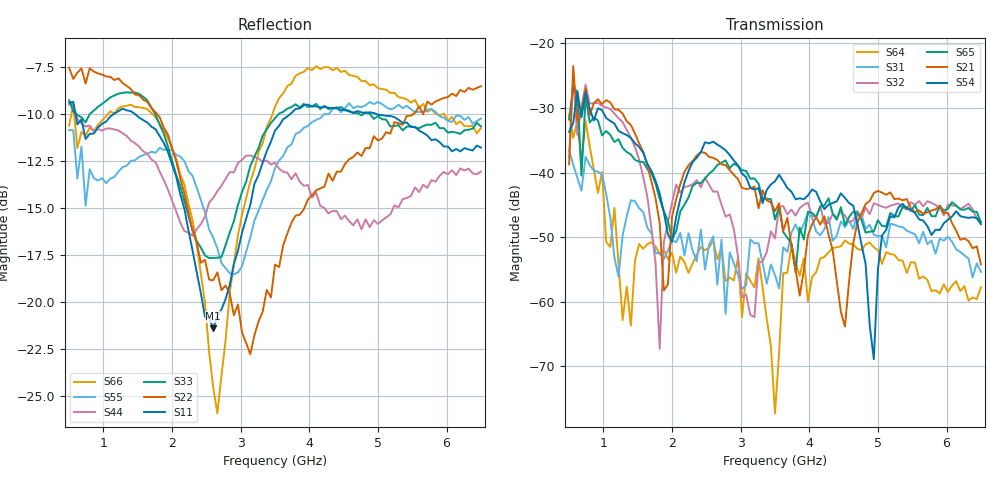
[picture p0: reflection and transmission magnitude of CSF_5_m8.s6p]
!Keysight Technologies,M9804A,MY58100912,A.14.10.03
!Date: Thursday, April 27, 2023 10:28:33
!Correction: S11(C  6-Port  )
!S12(C  6-Port  )
!S13(C  6-Port  )
!S14(C  6-Port  )
!S15(C  6-Port  )
!S16(C  6-Port  )
!S21(C  6-Port  )
!S22(C  6-Port  )
!S23(C  6-Port  )
!S24(C  6-Port  )
!S25(C  6-Port  )
!S26(C  6-Port  )
!S31(C  6-Port  )
!S32(C  6-Port  )
!S33(C  6-Port  )
!S34(C  6-Port  )
!S35(C  6-Port  )
!S36(C  6-Port  )
!S41(C  6-Port  )
!S42(C  6-Port  )
!S43(C  6-Port  )
!S44(C  6-Port  )
!S45(C  6-Port  )
!S46(C  6-Port  )
!S51(C  6-Port  )
!S52(C  6-Port  )
!S53(C  6-Port  )
!S54(C  6-Port  )
!S55(C  6-Port  )
!S56(C  6-Port  )
!S61(C  6-Port  )
!S62(C  6-Port  )
!S63(C  6-Port  )
!S64(C  6-Port  )
!S65(C  6-Port  )
!S66(C  6-Port  )
!S6P File: Measurement: :
# Hz S  RI  R 50
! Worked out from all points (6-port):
!   101 points, 500 MHz to 6.5 GHz, reference 50 ohm
!   strongest paths, dB at 500 MHz, 2 GHz, 3.5 GHz, 5 GHz, 6.5 GHz:
!     S54: -33.7, -50.7, -41.3, -55.0, -48.0
!     S21: -38.7, -46.8, -46.0, -42.8, -54.2
!     S65: -31.8, -50.3, -47.3, -47.4, -47.7
!     S32: -37.7, -44.6, -50.2, -45.0, -47.6
!     S31: -36.5, -50.4, -55.9, -49.8, -55.4
!     S64: -30.9, -52.4, -77.3, -52.0, -57.8
!   lowest |S11| = -21.4 dB at 2.6 GHz (marker M1), VSWR 1.19, Z = 42.5 + j2.28 ohm
!   |S11| at or under -10 dB: 593.3 MHz to 1.144 GHz (550.2 MHz wide, 63.4 % of centre); 1.466 GHz to 3.716 GHz (2.25 GHz wide, 86.9 % of centre); 4.989 GHz to end of sweep
